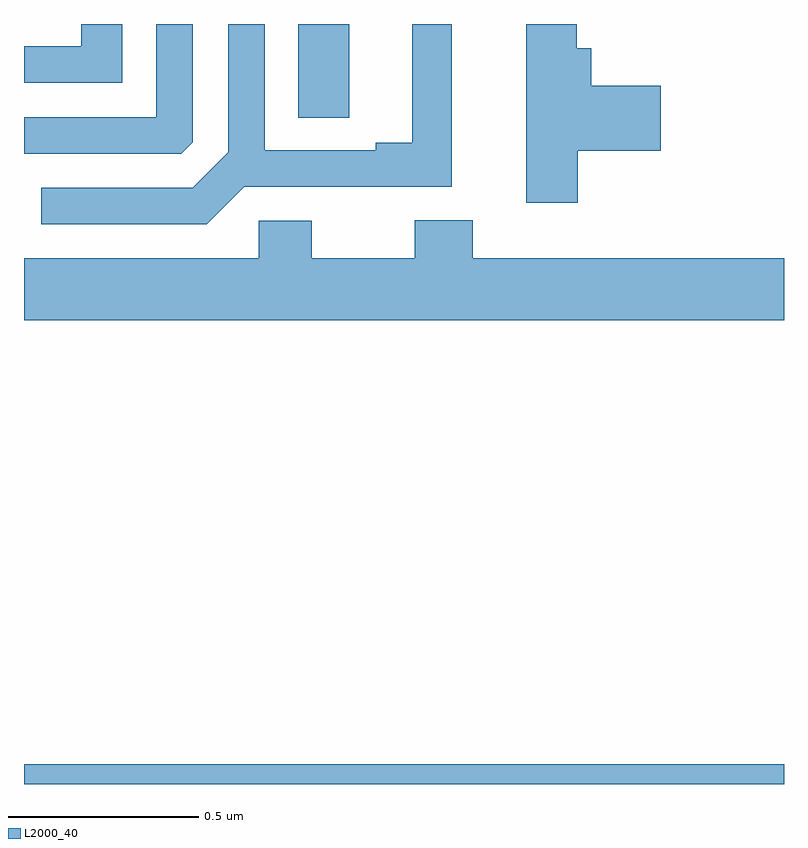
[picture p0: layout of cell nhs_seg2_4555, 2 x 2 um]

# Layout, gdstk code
import gdstk
lib = gdstk.Library(unit=1e-6, precision=1e-09)
def R(c, l, rs):  # rectangles x0, y0, x1, y1
    for r in rs: c.add(gdstk.rectangle(r[:2], r[2:], *l))
def P(c, l, *ps):  # polygons
    for p in ps: c.add(gdstk.Polygon(p, *l))
L2000_40 = (2000, 40)

nhs_seg2_4555 = lib.new_cell('nhs_seg2_4555')
R(nhs_seg2_4555, L2000_40, [(168,595.8,170,595.852), (168.722,597.553,168.856,597.8)])
P(nhs_seg2_4555, L2000_40, [(169.457,597.467),(169.675,597.467),(169.675,597.638),(169.493,597.638),(169.493,597.736),(169.454,597.736),(169.454,597.8),(169.322,597.8),(169.322,597.33),(169.457,597.33)],
  [(168.258,597.8),(168.15,597.8),(168.15,597.742),(168,597.742),(168,597.645),(168.258,597.645)],
  [(168.444,597.489),(168.444,597.8),(168.348,597.8),(168.348,597.555),(168,597.555),(168,597.459),(168.414,597.459)],
  [(168.58,597.372),(169.126,597.372),(169.126,597.8),(169.022,597.8),(169.022,597.488),(168.926,597.488),(168.926,597.468),(168.633,597.468),(168.633,597.8),(168.537,597.8),(168.537,597.462),(168.444,597.369),(168.045,597.369),(168.045,597.273),(168.481,597.273)],
  [(170,597.184),(169.181,597.184),(169.181,597.283),(169.028,597.283),(169.028,597.184),(168.757,597.184),(168.757,597.282),(168.618,597.282),(168.618,597.184),(168,597.184),(168,597.02),(170,597.02)])

lib.write_gds('nhs_seg2_4555.gds')
